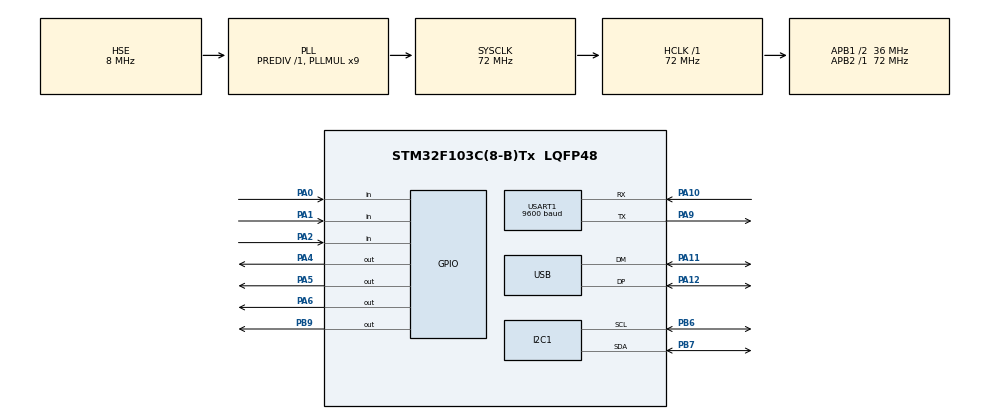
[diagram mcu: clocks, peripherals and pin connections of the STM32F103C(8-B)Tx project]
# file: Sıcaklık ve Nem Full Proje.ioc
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I2C1.I2C_Mode=I2C_Fast
Mcu.Family=STM32F1
Mcu.Name=STM32F103C(8-B)Tx
Mcu.Package=LQFP48
NVIC.PriorityGroup=NVIC_PRIORITYGROUP_4
NVIC.USB_LP_CAN1_RX0_IRQn=true\:0\:0\:false\:false\:true\:false\:true\:true
PA0-WKUP.GPIO_PuPd=GPIO_PULLUP
PA0-WKUP.Signal=GPIO_Input
PA1.GPIO_PuPd=GPIO_PULLUP
PA1.Signal=GPIO_Input
PA10.Mode=Asynchronous
PA10.Signal=USART1_RX
PA11.Mode=Device
PA11.Signal=USB_DM
PA12.Mode=Device
PA12.Signal=USB_DP
PA13.Mode=Serial_Wire
PA13.Signal=SYS_JTMS-SWDIO
PA14.Mode=Serial_Wire
PA14.Signal=SYS_JTCK-SWCLK
PA2.GPIO_PuPd=GPIO_PULLUP
PA2.Signal=GPIO_Input
PA4.Signal=GPIO_Output
PA5.Signal=GPIO_Output
PA6.Signal=GPIO_Output
PA9.Mode=Asynchronous
PA9.Signal=USART1_TX
PB6.Mode=I2C
PB6.Signal=I2C1_SCL
PB7.Mode=I2C
PB7.Signal=I2C1_SDA
PB9.Signal=GPIO_Output
PD0-OSC_IN.Mode=HSE-External-Oscillator
PD0-OSC_IN.Signal=RCC_OSC_IN
PD1-OSC_OUT.Mode=HSE-External-Oscillator
PD1-OSC_OUT.Signal=RCC_OSC_OUT
ProjectManager.HeapSize=0x200
ProjectManager.StackSize=0x400
ProjectManager.TargetToolchain=STM32CubeIDE
RCC.AHBFreq_Value=72000000
RCC.APB1CLKDivider=RCC_HCLK_DIV2
RCC.APB1Freq_Value=36000000
RCC.APB1TimFreq_Value=72000000
RCC.APB2Freq_Value=72000000
RCC.APB2TimFreq_Value=72000000
RCC.HCLKFreq_Value=72000000
RCC.PLLMUL=RCC_PLL_MUL9
RCC.PLLSourceVirtual=RCC_PLLSOURCE_HSE
RCC.SYSCLKFreq_VALUE=72000000
RCC.SYSCLKSource=RCC_SYSCLKSOURCE_PLLCLK
RCC.USBFreq_Value=48000000
RCC.USBPrescaler=RCC_USBCLKSOURCE_PLL_DIV1_5
TIM1.Prescaler=71
USART1.BaudRate=9600
USART1.VirtualMode=VM_ASYNC
USB_DEVICE.CLASS_NAME_FS=CDC
USB_DEVICE.VirtualMode=Cdc
USB_DEVICE.VirtualModeFS=Cdc_FS
VP_TIM1_VS_ClockSourceINT.Mode=Internal
VP_USB_DEVICE_VS_USB_DEVICE_CDC_FS.Mode=CDC_FS
board=custom

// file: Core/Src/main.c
/* USER CODE BEGIN Header */
/**
 ******************************************************************************
 * @file           : main.c
 * @brief          : Main program body
 ******************************************************************************
 * @attention
 *
 * Copyright (c) 2026 STMicroelectronics.
 * All rights reserved.
 *
 * This software is licensed under terms that can be found in the LICENSE file
 * in the root directory of this software component.
 * If no LICENSE file comes with this software, it is provided AS-IS.
 *
 ******************************************************************************
 */
/* USER CODE END Header */
#include "main.h"
#include "usb_device.h"

/* USER CODE BEGIN Includes */
#include "fonts.h"
#include <string.h>
#include "ssd1306.h"
#include "stdio.h"
#include "usbd_cdc_if.h"

/* USER CODE END Includes */

I2C_HandleTypeDef hi2c1;

TIM_HandleTypeDef htim1;

UART_HandleTypeDef huart1;

/* USER CODE BEGIN PV */
int sicaklikEsik = 25;
int nemEsik = 50;

int tempValue = 25;
int humValue = 50;
uint32_t lastDHTRead = 0;
volatile int encoderValue = 0;

uint8_t oldCLK;
uint8_t newCLK;

char text[25];

uint32_t lastEncoderTime = 0;
char *menuItems[] =
{
    "Sicaklik",
    "Nem",
    "Bluetooth",
    "Ayarlar"
};

uint8_t menuIndex = 0;
uint8_t menuMode = 0;      // 0=Menu, 1=Secilen ekran

uint8_t lastKeyState = GPIO_PIN_SET;
uint8_t currentKeyState;
uint32_t lastScreenUpdate = 0;

/* USER CODE END PV */

void SystemClock_Config(void);
static void MX_GPIO_Init(void);
static void MX_I2C1_Init(void);
static void MX_TIM1_Init(void);
static void MX_USART1_UART_Init(void);

/* USER CODE BEGIN 0 */
char btBuffer[50];
void SetRGB(uint8_t r, uint8_t g, uint8_t b)
{
    HAL_GPIO_WritePin(GPIOA, GPIO_PIN_4, r ? GPIO_PIN_SET : GPIO_PIN_RESET);
    HAL_GPIO_WritePin(GPIOA, GPIO_PIN_5, g ? GPIO_PIN_SET : GPIO_PIN_RESET);
    HAL_GPIO_WritePin(GPIOA, GPIO_PIN_6, b ? GPIO_PIN_SET : GPIO_PIN_RESET);
}
#define DHT11_PORT GPIOB
#define DHT11_PIN GPIO_PIN_9

uint8_t RHI, RHD, TCI, TCD, SUM;

uint32_t pMillis, cMillis;

float tCelsius = 0;
float RH = 0;

char strCopy[15];
void microDelay(uint16_t delay) {
	__HAL_TIM_SET_COUNTER(&htim1, 0);
	while (__HAL_TIM_GET_COUNTER(&htim1) < delay)
		;
}

uint8_t DHT11_Start(void) {
	uint8_t Response = 0;
	GPIO_InitTypeDef GPIO_InitStructPrivate = { 0 };
	GPIO_InitStructPrivate.Pin = DHT11_PIN;
	GPIO_InitStructPrivate.Mode = GPIO_MODE_OUTPUT_PP;
	GPIO_InitStructPrivate.Speed = GPIO_SPEED_FREQ_LOW;
	GPIO_InitStructPrivate.Pull = GPIO_NOPULL;
	HAL_GPIO_Init(DHT11_PORT, &GPIO_InitStructPrivate); // set the pin as output
	HAL_GPIO_WritePin(DHT11_PORT, DHT11_PIN, 0);   // pull the pin low
	HAL_Delay(20);   // wait for 20ms
	HAL_GPIO_WritePin(DHT11_PORT, DHT11_PIN, 1);   // pull the pin high
	microDelay(30);   // wait for 30us
	GPIO_InitStructPrivate.Mode = GPIO_MODE_INPUT;
	GPIO_InitStructPrivate.Pull = GPIO_PULLUP;
	HAL_GPIO_Init(DHT11_PORT, &GPIO_InitStructPrivate); // set the pin as input
	microDelay(40);
	if (!(HAL_GPIO_ReadPin(DHT11_PORT, DHT11_PIN))) {
		microDelay(80);
		if ((HAL_GPIO_ReadPin(DHT11_PORT, DHT11_PIN)))
			Response = 1;
	}
	pMillis = HAL_GetTick();
	cMillis = HAL_GetTick();
	while ((HAL_GPIO_ReadPin(DHT11_PORT, DHT11_PIN)) && pMillis + 2 > cMillis) {
		cMillis = HAL_GetTick();
	}
	return Response;
}

uint8_t DHT11_Read(void) {
	uint8_t a, b=0;
	for (a = 0; a < 8; a++) {
		pMillis = HAL_GetTick();
		cMillis = HAL_GetTick();
		while (!(HAL_GPIO_ReadPin(DHT11_PORT, DHT11_PIN))
				&& pMillis + 2 > cMillis) {  // wait for the pin to go high
			cMillis = HAL_GetTick();
		}
		microDelay(40);   // wait for 40 us
		if (!(HAL_GPIO_ReadPin(DHT11_PORT, DHT11_PIN)))   // if the pin is low
			b &= ~(1 << (7 - a));
		else
			b |= (1 << (7 - a));
		pMillis = HAL_GetTick();
		cMillis = HAL_GetTick();
		while ((HAL_GPIO_ReadPin(DHT11_PORT, DHT11_PIN))
				&& pMillis + 2 > cMillis) {  // wait for the pin to go low
			cMillis = HAL_GetTick();
		}
	}
	return b;
}

void DrawMenu(void)
{
    SSD1306_Fill(SSD1306_COLOR_BLACK);

    for(int i=0;i<4;i++)
    {
        SSD1306_GotoXY(0,i*15);

        if(i==menuIndex)
            sprintf(text,"> %s",menuItems[i]);
        else
            sprintf(text,"  %s",menuItems[i]);

        SSD1306_Puts(text,&Font_7x10,SSD1306_COLOR_WHITE);
    }

    SSD1306_UpdateScreen();
}

void DrawSelectedScreen(void)
{
    SSD1306_Fill(SSD1306_COLOR_BLACK);

    if(menuIndex == 0)
    {
        SSD1306_GotoXY(10,0);
        SSD1306_Puts("SICAKLIK",&Font_11x18,SSD1306_COLOR_WHITE);

        sprintf(text,"Anlik : %d.%d C", TCI, TCD);

        SSD1306_GotoXY(5,25);
        SSD1306_Puts(text,&Font_7x10,SSD1306_COLOR_WHITE);

        sprintf(text,"Esik : %d C", tempValue);

        SSD1306_GotoXY(5,40);
        SSD1306_Puts(text,&Font_7x10,SSD1306_COLOR_WHITE);
    }
    else if(menuIndex == 1)
    {
        SSD1306_GotoXY(30,0);
        SSD1306_Puts("NEM",&Font_11x18,SSD1306_COLOR_WHITE);

        sprintf(text,"Anlik : %d.%d %%", RHI, RHD);

        SSD1306_GotoXY(5,25);
        SSD1306_Puts(text,&Font_7x10,SSD1306_COLOR_WHITE);

        sprintf(text,"Esik : %d %%", humValue);

        SSD1306_GotoXY(5,40);
        SSD1306_Puts(text,&Font_7x10,SSD1306_COLOR_WHITE);
    }
    else if(menuIndex == 2)
    {
        SSD1306_GotoXY(8,18);
        SSD1306_Puts("Bluetooth",&Font_11x18,SSD1306_COLOR_WHITE);
    }
    else
    {
        SSD1306_GotoXY(20,18);
        SSD1306_Puts("Ayarlar",&Font_11x18,SSD1306_COLOR_WHITE);
    }

    SSD1306_GotoXY(8,54);
    SSD1306_Puts("KEY = Kaydet",&Font_7x10,SSD1306_COLOR_WHITE);

    SSD1306_UpdateScreen();
}

/* USER CODE END 0 */

int main(void)
{

  /* MCU Configuration--------------------------------------------------------*/

  /* Reset of all peripherals, Initializes the Flash interface and the Systick. */
  HAL_Init();

  /* Configure the system clock */
  SystemClock_Config();

  /* Initialize all configured peripherals */
  MX_GPIO_Init();
  MX_I2C1_Init();
  MX_TIM1_Init();
  MX_USART1_UART_Init();
  MX_USB_DEVICE_Init();
  /* USER CODE BEGIN 2 */
	HAL_TIM_Base_Start(&htim1);
	SSD1306_Init();
	DrawMenu();

	oldCLK = HAL_GPIO_ReadPin(GPIOA,GPIO_PIN_0);
  /* USER CODE END 2 */

  /* Infinite loop */
  while (1)
  {
	 	  if (HAL_GetTick() - lastDHTRead >= 2000)
	 	     {
	 	         lastDHTRead = HAL_GetTick();

	 	         if (DHT11_Start())
	 	         {
	 	             RHI = DHT11_Read();
	 	             RHD = DHT11_Read();
	 	             TCI = DHT11_Read();
	 	             TCD = DHT11_Read();
	 	             SUM = DHT11_Read();

	 	             if (RHI + RHD + TCI + TCD == SUM)
	 	             {
	 	                 tCelsius = (float)TCI + ((float)TCD / 10.0f);
	 	                 RH = (float)RHI + ((float)RHD / 10.0f);

	 	                 sprintf(btBuffer,
	 	                         "%d.%d,%d.%d,%d,%d\n",
	 	                         TCI,
	 	                         TCD,
	 	                         RHI,
	 	                         RHD,
	 	                         tempValue,
	 	                         humValue);

	 	                 HAL_UART_Transmit(
	 	                     &huart1,
	 	                     (uint8_t*)btBuffer,
	 	                     strlen(btBuffer),
	 	                     HAL_MAX_DELAY);

	 	                CDC_Transmit_FS((uint8_t *) btBuffer, strlen(btBuffer));
	 	                HAL_Delay(100);
	 	             }
	 	         }
	 	     }

	 	     currentKeyState = HAL_GPIO_ReadPin(GPIOA, GPIO_PIN_2);

	 	     if(menuMode == 0)
	 	     {
	 	         //================ MENU MODU ================

	 	         newCLK = HAL_GPIO_ReadPin(GPIOA, GPIO_PIN_0);

	 	         if(newCLK != oldCLK)
	 	         {
	 	             if((HAL_GetTick() - lastEncoderTime) > 2)
	 	             {
	 	                 if(newCLK == GPIO_PIN_SET)
	 	                 {
	 	                     if(HAL_GPIO_ReadPin(GPIOA, GPIO_PIN_1) != newCLK)
	 	                     {
	 	                         if(menuIndex < 3)
	 	                             menuIndex++;
	 	                     }
	 	                     else
	 	                     {
	 	                         if(menuIndex > 0)
	 	                             menuIndex--;
	 	                     }

	 	                     DrawMenu();

	 	                     lastEncoderTime = HAL_GetTick();
	 	                 }
	 	             }
	 	         }

	 	         oldCLK = newCLK;

	 	         if(currentKeyState == GPIO_PIN_RESET &&
	 	            lastKeyState == GPIO_PIN_SET)
	 	         {
	 	             if(menuIndex == 0)
	 	                 tempValue = sicaklikEsik;

	 	             if(menuIndex == 1)
	 	                 humValue = nemEsik;

	 	             menuMode = 1;

	 	             DrawSelectedScreen();

	 	             HAL_Delay(200);
	 	         }
	 	     }
	 	     else
	 	     {
	 	         //================ AYAR MODU ================

	 	         newCLK = HAL_GPIO_ReadPin(GPIOA, GPIO_PIN_0);

	 	         if(newCLK != oldCLK)
	 	         {
	 	             if((HAL_GetTick() - lastEncoderTime) > 2)
	 	             {
	 	                 if(newCLK == GPIO_PIN_SET)
	 	                 {
	 	                     if(HAL_GPIO_ReadPin(GPIOA, GPIO_PIN_1) != newCLK)
	 	                     {
	 	                         if(menuIndex == 0)
	 	                         {
	 	                             if(tempValue < 60)
	 	                                 tempValue++;
	 	                         }

	 	                         if(menuIndex == 1)
	 	                         {
	 	                             if(humValue < 100)
	 	                                 humValue++;
	 	                         }
	 	                     }
	 	                     else
	 	                     {
	 	                         if(menuIndex == 0)
	 	                         {
	 	                             if(tempValue > 0)
	 	                                 tempValue--;
	 	                         }

	 	                         if(menuIndex == 1)
	 	                         {
	 	                             if(humValue > 0)
	 	                                 humValue--;
	 	                         }
	 	                     }

	 	                     DrawSelectedScreen();

	 	                     lastEncoderTime = HAL_GetTick();
	 	                 }
	 	             }
	 	         }

	 	         oldCLK = newCLK;

	 	         if(currentKeyState == GPIO_PIN_RESET &&
	 	            lastKeyState == GPIO_PIN_SET)
	 	         {
	 	             if(menuIndex == 0)
	 	                 sicaklikEsik = tempValue;

	 	             if(menuIndex == 1)
	 	                 nemEsik = humValue;

	 	             menuMode = 0;

	 	             DrawMenu();

	 	             HAL_Delay(200);
	 	         }
	 	     }

	 	     //================ RGB LED ================

	 	     if(tCelsius > sicaklikEsik && RH > nemEsik)
	 	     {
	 	         // Mor
	 	         SetRGB(1,0,1);
	 	     }
	 	     else if(tCelsius > sicaklikEsik)
	 	     {
	 	         // Kırmızı
	 	         SetRGB(1,0,0);
	 	     }
	 	     else if(RH > nemEsik)
	 	     {
	 	         // Mavi
	 	         SetRGB(0,0,1);
	 	     }
	 	     else
	 	     {
	 	         // Yeşil
	 	         SetRGB(0,1,0);
	 	     }

	 	     lastKeyState = currentKeyState;

	 	     if(menuMode == 1)
	 	     {
	 	         if(HAL_GetTick() - lastScreenUpdate >= 1000)
	 	         {
	 	             lastScreenUpdate = HAL_GetTick();
	 	             DrawSelectedScreen();
	 	         }
	 	     }

  }
}

void SystemClock_Config(void)
{
  RCC_OscInitTypeDef RCC_OscInitStruct = {0};
  RCC_ClkInitTypeDef RCC_ClkInitStruct = {0};
  RCC_PeriphCLKInitTypeDef PeriphClkInit = {0};

  /** Initializes the RCC Oscillators according to the specified parameters
  * in the RCC_OscInitTypeDef structure.
  */
  RCC_OscInitStruct.OscillatorType = RCC_OSCILLATORTYPE_HSE;
  RCC_OscInitStruct.HSEState = RCC_HSE_ON;
  RCC_OscInitStruct.HSEPredivValue = RCC_HSE_PREDIV_DIV1;
  RCC_OscInitStruct.HSIState = RCC_HSI_ON;
  RCC_OscInitStruct.PLL.PLLState = RCC_PLL_ON;
  RCC_OscInitStruct.PLL.PLLSource = RCC_PLLSOURCE_HSE;
  RCC_OscInitStruct.PLL.PLLMUL = RCC_PLL_MUL9;
  if (HAL_RCC_OscConfig(&RCC_OscInitStruct) != HAL_OK)
  {
    Error_Handler();
  }

  /** Initializes the CPU, AHB and APB buses clocks
  */
  RCC_ClkInitStruct.ClockType = RCC_CLOCKTYPE_HCLK|RCC_CLOCKTYPE_SYSCLK
                              |RCC_CLOCKTYPE_PCLK1|RCC_CLOCKTYPE_PCLK2;
  RCC_ClkInitStruct.SYSCLKSource = RCC_SYSCLKSOURCE_PLLCLK;
  RCC_ClkInitStruct.AHBCLKDivider = RCC_SYSCLK_DIV1;
  RCC_ClkInitStruct.APB1CLKDivider = RCC_HCLK_DIV2;
  RCC_ClkInitStruct.APB2CLKDivider = RCC_HCLK_DIV1;

  if (HAL_RCC_ClockConfig(&RCC_ClkInitStruct, FLASH_LATENCY_2) != HAL_OK)
  {
    Error_Handler();
  }
  PeriphClkInit.PeriphClockSelection = RCC_PERIPHCLK_USB;
  PeriphClkInit.UsbClockSelection = RCC_USBCLKSOURCE_PLL_DIV1_5;
  if (HAL_RCCEx_PeriphCLKConfig(&PeriphClkInit) != HAL_OK)
  {
    Error_Handler();
  }
}

static void MX_I2C1_Init(void)
{

  hi2c1.Instance = I2C1;
  hi2c1.Init.ClockSpeed = 400000;
  hi2c1.Init.DutyCycle = I2C_DUTYCYCLE_2;
  hi2c1.Init.OwnAddress1 = 0;
  hi2c1.Init.AddressingMode = I2C_ADDRESSINGMODE_7BIT;
  hi2c1.Init.DualAddressMode = I2C_DUALADDRESS_DISABLE;
  hi2c1.Init.OwnAddress2 = 0;
  hi2c1.Init.GeneralCallMode = I2C_GENERALCALL_DISABLE;
  hi2c1.Init.NoStretchMode = I2C_NOSTRETCH_DISABLE;
  if (HAL_I2C_Init(&hi2c1) != HAL_OK)
  {
    Error_Handler();
  }

}

static void MX_TIM1_Init(void)
{

  TIM_ClockConfigTypeDef sClockSourceConfig = {0};
  TIM_MasterConfigTypeDef sMasterConfig = {0};

  htim1.Instance = TIM1;
  htim1.Init.Prescaler = 71;
  htim1.Init.CounterMode = TIM_COUNTERMODE_UP;
  htim1.Init.Period = 65535;
  htim1.Init.ClockDivision = TIM_CLOCKDIVISION_DIV1;
  htim1.Init.RepetitionCounter = 0;
  htim1.Init.AutoReloadPreload = TIM_AUTORELOAD_PRELOAD_DISABLE;
  if (HAL_TIM_Base_Init(&htim1) != HAL_OK)
  {
    Error_Handler();
  }
  sClockSourceConfig.ClockSource = TIM_CLOCKSOURCE_INTERNAL;
  if (HAL_TIM_ConfigClockSource(&htim1, &sClockSourceConfig) != HAL_OK)
  {
    Error_Handler();
  }
  sMasterConfig.MasterOutputTrigger = TIM_TRGO_RESET;
  sMasterConfig.MasterSlaveMode = TIM_MASTERSLAVEMODE_DISABLE;
  if (HAL_TIMEx_MasterConfigSynchronization(&htim1, &sMasterConfig) != HAL_OK)
  {
    Error_Handler();
  }

}

static void MX_USART1_UART_Init(void)
{

  huart1.Instance = USART1;
  huart1.Init.BaudRate = 9600;
  huart1.Init.WordLength = UART_WORDLENGTH_8B;
  huart1.Init.StopBits = UART_STOPBITS_1;
  huart1.Init.Parity = UART_PARITY_NONE;
  huart1.Init.Mode = UART_MODE_TX_RX;
  huart1.Init.HwFlowCtl = UART_HWCONTROL_NONE;
  huart1.Init.OverSampling = UART_OVERSAMPLING_16;
  if (HAL_UART_Init(&huart1) != HAL_OK)
  {
    Error_Handler();
  }

}

static void MX_GPIO_Init(void)
{
  GPIO_InitTypeDef GPIO_InitStruct = {0};

  /* GPIO Ports Clock Enable */
  __HAL_RCC_GPIOD_CLK_ENABLE();
  __HAL_RCC_GPIOA_CLK_ENABLE();
  __HAL_RCC_GPIOB_CLK_ENABLE();

  /*Configure GPIO pin Output Level */
  HAL_GPIO_WritePin(GPIOA, GPIO_PIN_4|GPIO_PIN_5|GPIO_PIN_6, GPIO_PIN_RESET);

  /*Configure GPIO pin Output Level */
  HAL_GPIO_WritePin(GPIOB, GPIO_PIN_9, GPIO_PIN_RESET);

  /*Configure GPIO pins : PA0 PA1 PA2 */
  GPIO_InitStruct.Pin = GPIO_PIN_0|GPIO_PIN_1|GPIO_PIN_2;
  GPIO_InitStruct.Mode = GPIO_MODE_INPUT;
  GPIO_InitStruct.Pull = GPIO_PULLUP;
  HAL_GPIO_Init(GPIOA, &GPIO_InitStruct);

  /*Configure GPIO pins : PA4 PA5 PA6 */
  GPIO_InitStruct.Pin = GPIO_PIN_4|GPIO_PIN_5|GPIO_PIN_6;
  GPIO_InitStruct.Mode = GPIO_MODE_OUTPUT_PP;
  GPIO_InitStruct.Pull = GPIO_NOPULL;
  GPIO_InitStruct.Speed = GPIO_SPEED_FREQ_LOW;
  HAL_GPIO_Init(GPIOA, &GPIO_InitStruct);

  /*Configure GPIO pin : PB9 */
  GPIO_InitStruct.Pin = GPIO_PIN_9;
  GPIO_InitStruct.Mode = GPIO_MODE_OUTPUT_PP;
  GPIO_InitStruct.Pull = GPIO_NOPULL;
  GPIO_InitStruct.Speed = GPIO_SPEED_FREQ_LOW;
  HAL_GPIO_Init(GPIOB, &GPIO_InitStruct);

}

void Error_Handler(void)
{
	__disable_irq();
	while (1) {
	}
}
